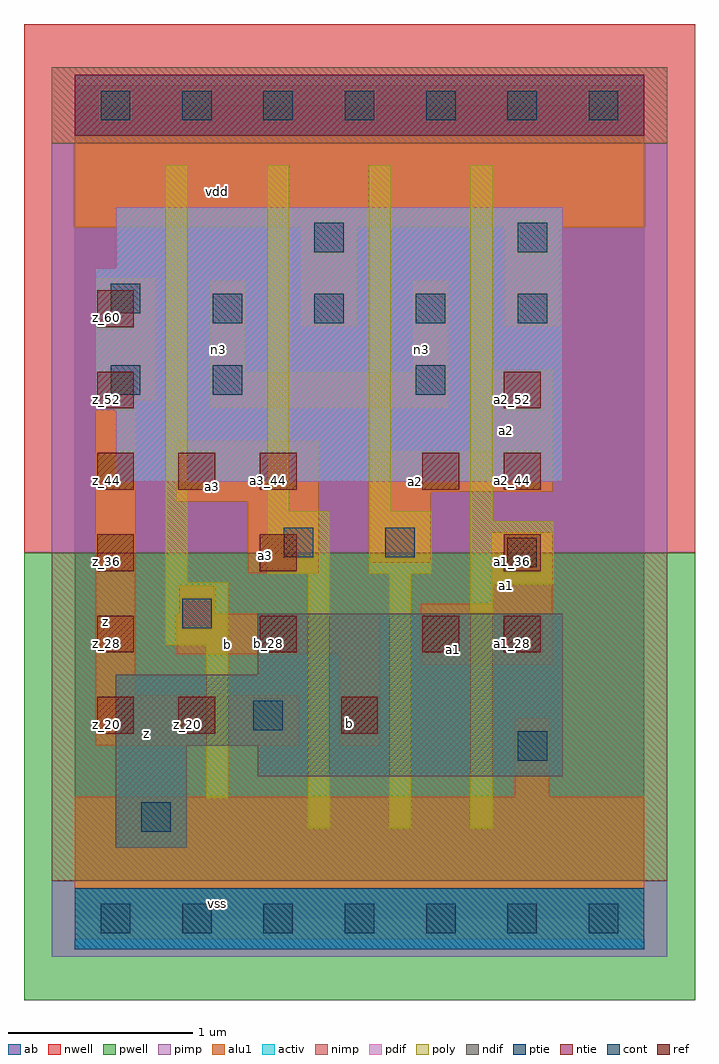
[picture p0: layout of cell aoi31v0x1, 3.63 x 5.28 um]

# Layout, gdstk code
import gdstk
lib = gdstk.Library(unit=1e-6, precision=2.5e-09)
def R(c, l, rs):  # rectangles x0, y0, x1, y1
    for r in rs: c.add(gdstk.rectangle(r[:2], r[2:], *l))
def A(c, l, x, y, w, h, nx, ny, dx, dy):  # array of equal rectangles
    R(c, l, [(x+i*dx, y+j*dy, x+i*dx+w, y+j*dy+h) for i in range(nx) for j in range(ny)])
ndif = (3, 0)
pdif = (4, 0)
ntie = (5, 0)
ptie = (6, 0)
ref = (24, 0)
cont = (25, 0)
pwell = (41, 0)
nwell = (42, 0)
activ = (43, 0)
pimp = (44, 0)
nimp = (45, 0)
poly = (46, 0)
alu1 = (49, 0)
ab = (63, 0)

aoi31v0x1 = lib.new_cell('aoi31v0x1')
R(aoi31v0x1, ndif, [(0.22,0.385,0.605,0.935), (0.99,0.77,2.64,0.935), (0.22,0.935,2.64,1.32), (0.99,1.32,2.64,1.65)])
R(aoi31v0x1, pdif, [(0.22,2.365,2.64,2.75), (0.11,2.75,2.64,3.52), (0.22,3.52,2.64,3.85)])
R(aoi31v0x1, ntie, [(0,4.235,3.08,4.565)])
R(aoi31v0x1, ptie, [(0,-0.165,3.08,0.165)])
A(aoi31v0x1, ref, 0.12, 1, 0.2, 0.2, 1, 3, 0, 0.88)
A(aoi31v0x1, ref, 0.12, 1.44, 0.2, 0.2, 3, 1, 0.88, 0)
A(aoi31v0x1, ref, 2.32, 1.44, 0.2, 0.2, 1, 4, 0, 0.44)
A(aoi31v0x1, ref, 0.12, 2.32, 0.2, 0.2, 3, 1, 0.44, 0)
R(aoi31v0x1, ref, [(0.56,1,0.76,1.2), (1.44,1,1.64,1.2), (1,1.88,1.2,2.08), (1.88,2.32,2.08,2.52), (0.12,3.2,0.32,3.4)])
A(aoi31v0x1, cont, 0.14, -0.08, 0.16, 0.16, 7, 2, 0.44, 4.4)
A(aoi31v0x1, cont, 0.745, 3.22, 0.16, 0.16, 4, 1, 0.55, 0)
R(aoi31v0x1, cont, [(0.36,0.47,0.52,0.63), (2.395,0.855,2.555,1.015), (0.965,1.02,1.125,1.18), (0.58,1.57,0.74,1.73), (2.34,1.9,2.5,2.06), (1.13,1.955,1.29,2.115), (1.68,1.955,1.84,2.115), (0.195,2.835,0.355,2.995), (0.745,2.835,0.905,2.995), (1.845,2.835,2.005,2.995), (0.195,3.275,0.355,3.435), (1.295,3.605,1.455,3.765), (2.395,3.605,2.555,3.765)])
R(aoi31v0x1, pwell, [(-0.275,-0.44,3.355,1.98)])
R(aoi31v0x1, nwell, [(-0.275,1.98,3.355,4.84)])
R(aoi31v0x1, activ, [(0,-0.165,3.08,0.165), (0.22,0.385,0.605,0.935), (0.99,0.77,2.64,0.935), (0.22,0.935,2.64,1.32), (0.99,1.32,2.64,1.65), (0.22,2.365,2.64,2.75), (0.11,2.75,2.64,3.52), (0.22,3.52,2.64,3.85), (0,4.235,3.08,4.565)])
R(aoi31v0x1, pimp, [(-0.125,-0.205,3.205,0.205), (-0.125,1.98,3.205,4.195)])
R(aoi31v0x1, nimp, [(-0.125,0.205,3.205,1.98), (-0.125,4.195,3.205,4.605)])
R(aoi31v0x1, poly, [(1.26,0.49,1.38,1.865), (1.7,0.49,1.82,1.865), (2.14,0.49,2.26,1.81), (0.71,0.655,0.83,1.48), (0.49,1.48,0.83,1.82), (2.14,1.81,2.59,2.15), (0.49,1.82,0.61,4.075), (1.04,1.865,1.38,2.205), (1.59,1.865,1.93,2.205), (2.14,2.15,2.26,4.075), (1.04,2.205,1.16,4.075), (1.59,2.205,1.71,4.075)])
R(aoi31v0x1, alu1, [(0,-0.11,3.08,0.66), (2.38,0.66,2.57,1.085), (0.11,0.935,1.21,1.21), (1.43,0.935,1.65,1.43), (0.11,1.21,0.33,2.805), (1.87,1.375,2.585,1.705), (0.55,1.43,1.65,1.65), (0.565,1.65,0.755,1.8), (2.255,1.705,2.585,2.09), (0.935,1.87,1.32,2.255), (1.595,1.925,1.925,2.31), (0.55,2.255,1.32,2.585), (1.595,2.31,2.585,2.53), (2.255,2.53,2.585,2.97), (0.73,2.765,2.02,2.955), (0.11,2.805,0.44,3.465), (0.73,2.955,0.92,3.45), (1.83,2.955,2.02,3.45), (1.225,3.205,1.525,3.74), (2.325,3.205,2.625,3.74), (0,3.74,3.08,4.51)])
R(aoi31v0x1, ab, [(0,0,3.08,4.4)])
aoi31v0x1.add(gdstk.Label('vss', (0.77,0.0825), layer=49, texttype=0))
aoi31v0x1.add(gdstk.Label('a1', (2.0475,1.4575), layer=49, texttype=0))
aoi31v0x1.add(gdstk.Label('b', (1.485,1.0575), layer=49, texttype=0))
aoi31v0x1.add(gdstk.Label('z', (0.385,1.0025), layer=49, texttype=0))
aoi31v0x1.add(gdstk.Label('b', (0.825,1.485), layer=49, texttype=0))
aoi31v0x1.add(gdstk.Label('a1', (2.3375,1.8), layer=49, texttype=0))
aoi31v0x1.add(gdstk.Label('a2', (1.8425,2.365), layer=49, texttype=0))
aoi31v0x1.add(gdstk.Label('a3', (1.03,1.965), layer=49, texttype=0))
aoi31v0x1.add(gdstk.Label('a2', (2.3375,2.64), layer=49, texttype=0))
aoi31v0x1.add(gdstk.Label('a3', (0.7425,2.3375), layer=49, texttype=0))
aoi31v0x1.add(gdstk.Label('z', (0.165,1.6075), layer=49, texttype=0))
aoi31v0x1.add(gdstk.Label('n3', (1.8775,3.0775), layer=49, texttype=0))
aoi31v0x1.add(gdstk.Label('n3', (0.7775,3.0775), layer=49, texttype=0))
aoi31v0x1.add(gdstk.Label('vdd', (0.77,3.9325), layer=49, texttype=0))
aoi31v0x1.add(gdstk.Label('z_20', (0.61,1.05), layer=24, texttype=0))
aoi31v0x1.add(gdstk.Label('a3_44', (0.61,2.37), layer=24, texttype=0))
aoi31v0x1.add(gdstk.Label('b_28', (1.05,1.49), layer=24, texttype=0))
aoi31v0x1.add(gdstk.Label('a3_36', (1.05,1.93), layer=24, texttype=0))
aoi31v0x1.add(gdstk.Label('a3_44', (1.05,2.37), layer=24, texttype=0))
aoi31v0x1.add(gdstk.Label('b_20', (1.49,1.05), layer=24, texttype=0))
aoi31v0x1.add(gdstk.Label('a1_28', (1.93,1.49), layer=24, texttype=0))
aoi31v0x1.add(gdstk.Label('a2_44', (1.93,2.37), layer=24, texttype=0))
aoi31v0x1.add(gdstk.Label('z_20', (0.17,1.05), layer=24, texttype=0))
aoi31v0x1.add(gdstk.Label('z_28', (0.17,1.49), layer=24, texttype=0))
aoi31v0x1.add(gdstk.Label('z_36', (0.17,1.93), layer=24, texttype=0))
aoi31v0x1.add(gdstk.Label('z_44', (0.17,2.37), layer=24, texttype=0))
aoi31v0x1.add(gdstk.Label('z_52', (0.17,2.81), layer=24, texttype=0))
aoi31v0x1.add(gdstk.Label('z_60', (0.17,3.25), layer=24, texttype=0))
aoi31v0x1.add(gdstk.Label('a1_28', (2.37,1.49), layer=24, texttype=0))
aoi31v0x1.add(gdstk.Label('a1_36', (2.37,1.93), layer=24, texttype=0))
aoi31v0x1.add(gdstk.Label('a2_44', (2.37,2.37), layer=24, texttype=0))
aoi31v0x1.add(gdstk.Label('a2_52', (2.37,2.81), layer=24, texttype=0))

lib.write_gds('aoi31v0x1.gds')
